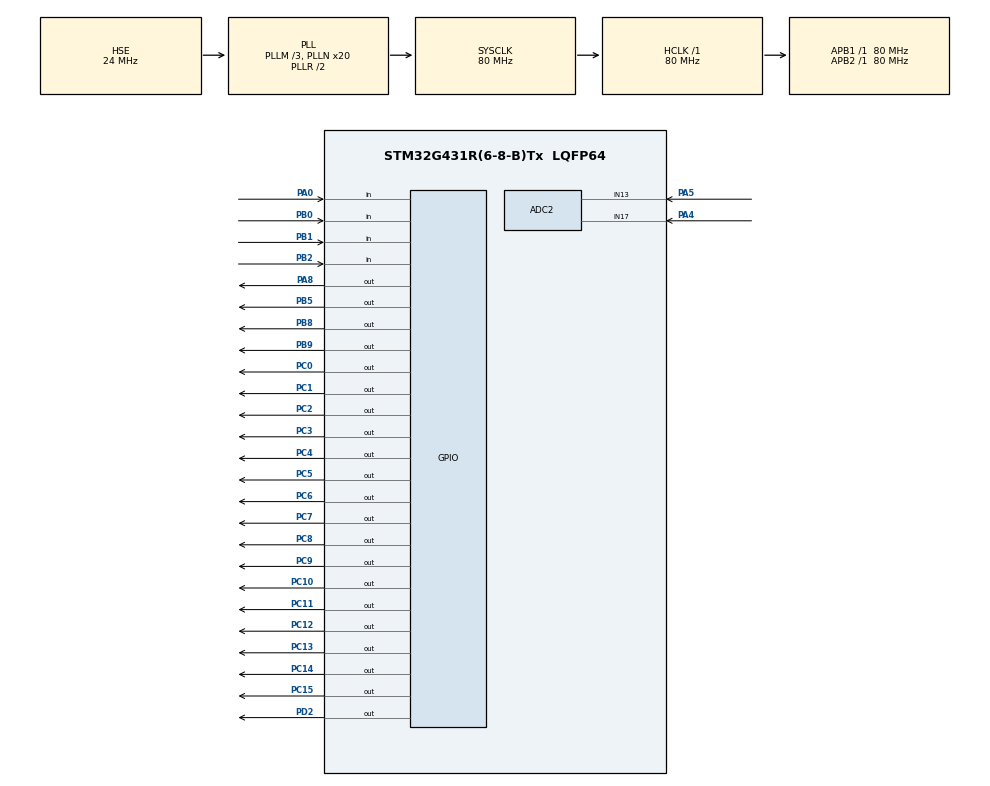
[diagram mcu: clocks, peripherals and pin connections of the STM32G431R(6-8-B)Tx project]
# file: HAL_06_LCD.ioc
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Mcu.Family=STM32G4
Dma.ADC2.0.SyncRequestNumber=1
RCC.CortexFreq_Value=80000000
Dma.ADC2.0.SyncEnable=DISABLE
ADC2.SamplingTime-1\#ChannelRegularConversion=ADC_SAMPLETIME_2CYCLES_5
Dma.ADC2.0.RequestNumber=1
ADC2.Channel-0\#ChannelRegularConversion=ADC_CHANNEL_17
PC10.Signal=GPIO_Output
PC12.Signal=GPIO_Output
RCC.SYSCLKSource=RCC_SYSCLKSOURCE_PLLCLK
ProjectManager.StackSize=0x400
PA4.Mode=IN17-Single-Ended
ADC2.DMAContinuousRequests=ENABLE
PB1.GPIO_PuPd=GPIO_NOPULL
RCC.HCLKFreq_Value=80000000
Dma.ADC2.0.Direction=DMA_PERIPH_TO_MEMORY
RCC.APB2TimFreq_Value=80000000
PC7.Signal=GPIO_Output
Dma.ADC2.0.MemInc=DMA_MINC_ENABLE
PC3.Signal=GPIO_Output
RCC.AHBFreq_Value=80000000
Dma.ADC2.0.Priority=DMA_PRIORITY_LOW
RCC.HSE_VALUE=24000000
PB2.Signal=GPIO_Input
RCC.ADC12Freq_Value=80000000
Dma.ADC2.0.SyncSignalID=NONE
PA14.Mode=Serial_Wire
VP_SYS_VS_DBSignals.Mode=DisableDeadBatterySignals
Dma.ADC2.0.SignalID=NONE
PA8.Signal=GPIO_Output
PB2.GPIO_PuPd=GPIO_NOPULL
PA0.Signal=GPIO_Input
Dma.ADC2.0.Polarity=HAL_DMAMUX_REQ_GEN_RISING
Mcu.Package=LQFP64
PB9.Signal=GPIO_Output
PB1.Signal=GPIO_Input
PB0.GPIO_Mode=GPIO_MODE_INPUT
PA0.GPIO_PuPd=GPIO_NOPULL
ADC2.Channel-1\#ChannelRegularConversion=ADC_CHANNEL_13
ADC2.SamplingTime-0\#ChannelRegularConversion=ADC_SAMPLETIME_2CYCLES_5
Dma.ADC2.0.EventEnable=DISABLE
Dma.ADC2.0.Mode=DMA_CIRCULAR
Dma.ADC2.0.PeriphDataAlignment=DMA_PDATAALIGN_WORD
ADC2.NbrOfConversion=2
RCC.APB1TimFreq_Value=80000000
PC5.Signal=GPIO_Output
ADC2.Rank-0\#ChannelRegularConversion=1
PF1-OSC_OUT.Mode=HSE-External-Oscillator
Dma.Request0=ADC2
PF1-OSC_OUT.Signal=RCC_OSC_OUT
RCC.HSI48_VALUE=48000000
PA5.Mode=IN13-Single-Ended
RCC.PLLSourceVirtual=RCC_PLLSOURCE_HSE
TIM4.AutoReloadPreload=TIM_AUTORELOAD_PRELOAD_ENABLE
PC11.Signal=GPIO_Output
PC13.Signal=GPIO_Output
TIM4.PeriodNoDither=1000 - 1
PC8.Signal=GPIO_Output
PC2.Signal=GPIO_Output
PC4.Signal=GPIO_Output
PC6.Signal=GPIO_Output
PA0.GPIO_Mode=GPIO_MODE_INPUT
RCC.EXTERNAL_CLOCK_VALUE=12288000
PC0.Signal=GPIO_Output
PC14-OSC32_IN.Signal=GPIO_Output
Dma.ADC2.0.SyncPolarity=HAL_DMAMUX_SYNC_NO_EVENT
PA13.Signal=SYS_JTMS-SWDIO
ADC2.ContinuousConvMode=ENABLE
ProjectManager.TargetToolchain=MDK-ARM V5.27
Dma.ADC2.0.MemDataAlignment=DMA_MDATAALIGN_WORD
PB1.GPIO_Mode=GPIO_MODE_INPUT
RCC.USBFreq_Value=80000000
TIM4.Prescaler=80 - 1
RCC.LSE_VALUE=32768
PC15-OSC32_OUT.Signal=GPIO_Output
PF0-OSC_IN.Mode=HSE-External-Oscillator
ADC2.OffsetNumber-1\#ChannelRegularConversion=ADC_OFFSET_NONE
PA5.Signal=ADC2_IN13
ADC2.OffsetNumber-0\#ChannelRegularConversion=ADC_OFFSET_NONE
PB8-BOOT0.Signal=GPIO_Output
board=custom
RCC.VCOOutputFreq_Value=160000000
Dma.ADC2.0.PeriphInc=DMA_PINC_DISABLE
RCC.APB2Freq_Value=80000000
PB2.GPIO_Mode=GPIO_MODE_INPUT
PA13.Mode=Serial_Wire
Mcu.Name=STM32G431R(6-8-B)Tx
PA4.Signal=ADC2_IN17
RCC.SYSCLKFreq_VALUE=80000000
PB5.Signal=GPIO_Output
ADC2.NbrOfConversionFlag=1
PA14.Signal=SYS_JTCK-SWCLK
ProjectManager.HeapSize=0x200
RCC.HSI_VALUE=16000000
VP_TIM4_VS_ClockSourceINT.Mode=Internal
NVIC.PriorityGroup=NVIC_PRIORITYGROUP_4
RCC.PLLM=RCC_PLLM_DIV3
RCC.PLLN=20
ADC2.Rank-1\#ChannelRegularConversion=2
PC9.Signal=GPIO_Output
PF0-OSC_IN.Signal=RCC_OSC_IN
PD2.Signal=GPIO_Output
NVIC.TIM4_IRQn=true\:0\:0\:false\:false\:true\:true\:true
RCC.APB1Freq_Value=80000000
Dma.ADC2.0.Instance=DMA1_Channel1
PB0.Signal=GPIO_Input
PC1.Signal=GPIO_Output
PB0.GPIO_PuPd=GPIO_NOPULL

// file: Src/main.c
/* USER CODE BEGIN Header */
/**
  ******************************************************************************
  * @file           : main.c
  * @brief          : Main program body
  ******************************************************************************
  * @attention
  *
  * <h2><center>&copy; Copyright (c) 2021 STMicroelectronics.
  * All rights reserved.</center></h2>
  *
  * This software component is licensed by ST under BSD 3-Clause license,
  * the "License"; You may not use this file except in compliance with the
  * License. You may obtain a copy of the License at:
  *                        opensource.org/licenses/BSD-3-Clause
  *
  ******************************************************************************
  */
/* USER CODE END Header */

#include "main.h"
#include "adc.h"
#include "dma.h"
#include "tim.h"
#include "gpio.h"

/* USER CODE BEGIN PV */
uint16_t led_tick = 0;
_Bool led_flag = 0;

uint8_t key_tick = 0;

uint8_t lcd_str[20];

uint32_t adc_value[2];

/* USER CODE END PV */

void SystemClock_Config(void);
/* USER CODE BEGIN PFP */
void led_proc(void);
void key_scan(void);
void adc_proc(void);
/* USER CODE END PFP */

int main(void)
{

  /* MCU Configuration--------------------------------------------------------*/

  /* Reset of all peripherals, Initializes the Flash interface and the Systick. */
  HAL_Init();

  /* Configure the system clock */
  SystemClock_Config();

  /* Initialize all configured peripherals */
  MX_GPIO_Init();
  MX_DMA_Init();
  MX_TIM4_Init();
  MX_ADC2_Init();
  /* USER CODE BEGIN 2 */

	LCD_Init();

	led_init();

	HAL_TIM_Base_Start_IT(&htim4);

	HAL_ADCEx_Calibration_Start(&hadc2,ADC_SINGLE_ENDED);

	HAL_ADC_Start_DMA(&hadc2,adc_value,2);

  /* USER CODE END 2 */

  /* Infinite loop */
  /* USER CODE BEGIN WHILE */

	LCD_Clear(Blue);
	LCD_SetBackColor(Blue);
	LCD_SetTextColor(White);

	LCD_DisplayStringLine(Line0, (uint8_t *)"                    ");
	LCD_DisplayStringLine(Line1, (uint8_t *)"                    ");
	LCD_DisplayStringLine(Line2, (uint8_t *)"      LCD Test      ");
	LCD_DisplayStringLine(Line3, (uint8_t *)"                    ");
	LCD_DisplayStringLine(Line4, (uint8_t *)"                    ");

	LCD_SetBackColor(White);
	LCD_SetTextColor(Blue);

	LCD_DisplayStringLine(Line5, (uint8_t *)"                    ");
	LCD_DisplayStringLine(Line6, (uint8_t *)"       HAL LIB      ");
	LCD_DisplayStringLine(Line7, (uint8_t *)"                    ");
	LCD_DisplayStringLine(Line8, (uint8_t *)"                    ");
	LCD_DisplayStringLine(Line9, (uint8_t *)"                    ");

  while (1)
  {
    /* USER CODE END WHILE */

    /* USER CODE BEGIN 3 */
	led_proc();

	adc_proc();
  }
  /* USER CODE END 3 */
}

void SystemClock_Config(void)
{
  RCC_OscInitTypeDef RCC_OscInitStruct = {0};
  RCC_ClkInitTypeDef RCC_ClkInitStruct = {0};
  RCC_PeriphCLKInitTypeDef PeriphClkInit = {0};

  /** Configure the main internal regulator output voltage
  */
  HAL_PWREx_ControlVoltageScaling(PWR_REGULATOR_VOLTAGE_SCALE1);
  /** Initializes the CPU, AHB and APB busses clocks
  */
  RCC_OscInitStruct.OscillatorType = RCC_OSCILLATORTYPE_HSE;
  RCC_OscInitStruct.HSEState = RCC_HSE_ON;
  RCC_OscInitStruct.PLL.PLLState = RCC_PLL_ON;
  RCC_OscInitStruct.PLL.PLLSource = RCC_PLLSOURCE_HSE;
  RCC_OscInitStruct.PLL.PLLM = RCC_PLLM_DIV3;
  RCC_OscInitStruct.PLL.PLLN = 20;
  RCC_OscInitStruct.PLL.PLLP = RCC_PLLP_DIV2;
  RCC_OscInitStruct.PLL.PLLQ = RCC_PLLQ_DIV2;
  RCC_OscInitStruct.PLL.PLLR = RCC_PLLR_DIV2;
  if (HAL_RCC_OscConfig(&RCC_OscInitStruct) != HAL_OK)
  {
    Error_Handler();
  }
  /** Initializes the CPU, AHB and APB busses clocks
  */
  RCC_ClkInitStruct.ClockType = RCC_CLOCKTYPE_HCLK|RCC_CLOCKTYPE_SYSCLK
                              |RCC_CLOCKTYPE_PCLK1|RCC_CLOCKTYPE_PCLK2;
  RCC_ClkInitStruct.SYSCLKSource = RCC_SYSCLKSOURCE_PLLCLK;
  RCC_ClkInitStruct.AHBCLKDivider = RCC_SYSCLK_DIV1;
  RCC_ClkInitStruct.APB1CLKDivider = RCC_HCLK_DIV1;
  RCC_ClkInitStruct.APB2CLKDivider = RCC_HCLK_DIV1;

  if (HAL_RCC_ClockConfig(&RCC_ClkInitStruct, FLASH_LATENCY_3) != HAL_OK)
  {
    Error_Handler();
  }
  /** Initializes the peripherals clocks
  */
  PeriphClkInit.PeriphClockSelection = RCC_PERIPHCLK_ADC12;
  PeriphClkInit.Adc12ClockSelection = RCC_ADC12CLKSOURCE_SYSCLK;
  if (HAL_RCCEx_PeriphCLKConfig(&PeriphClkInit) != HAL_OK)
  {
    Error_Handler();
  }
}

/* USER CODE BEGIN 4 */
void key_scan(void)
{
	key_refresh();
	if(key_falling == B1)
	{
		led_toggle(LD5);
	}
	else if(key_falling == B2)
	{
		led_toggle(LD6);
	}
	else if(key_falling == B3)
	{
		led_toggle(LD7);
	}
	else if(key_falling == B4)
	{
		led_toggle(LD8);
	}
}

void adc_proc(void)
{
	memset(lcd_str,0,sizeof(lcd_str));
	snprintf((char*)lcd_str,20,"PR6:%.2f                     ",adc_value[1] / 4095.0 * 3.3);
	LCD_DisplayStringLine(Line6, lcd_str);

	memset(lcd_str,0,sizeof(lcd_str));
	snprintf((char*)lcd_str,20,"PR5:%.2f                     ",adc_value[0] / 4095.0 * 3.3);
	LCD_DisplayStringLine(Line8, lcd_str);

}

void led_proc(void)
{
	if(led_flag)
	{
		led_flag = 0;
		led_toggle(LD1);
	}
}

void HAL_TIM_PeriodElapsedCallback(TIM_HandleTypeDef *htim)
{
	if(htim->Instance == TIM4)
	{
		if(++led_tick == 1000)
		{
			led_tick = 0;
			led_flag = 1;
		}
		if(++key_tick == 10)
		{
			key_tick = 0;
			key_scan();
		}
	}
}
/* USER CODE END 4 */

void Error_Handler(void)
{
}

/************************ (C) COPYRIGHT STMicroelectronics *****END OF FILE****/
